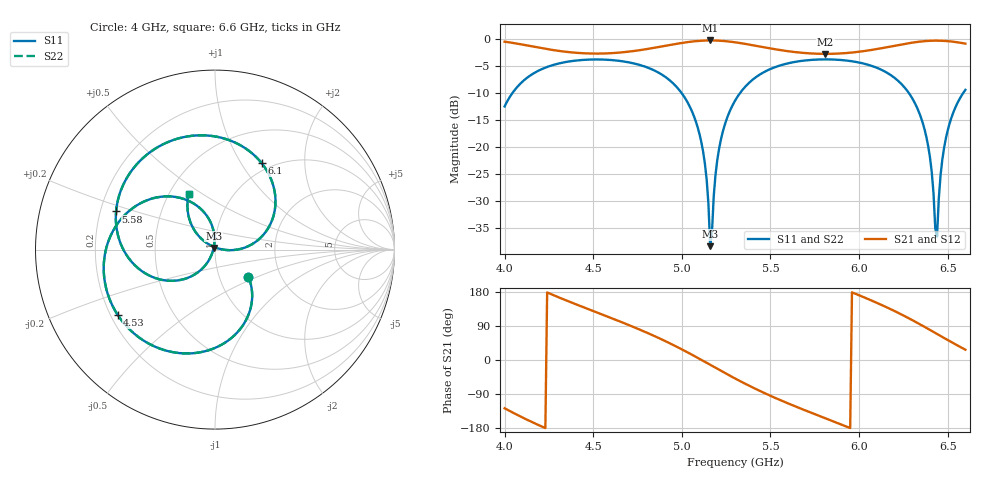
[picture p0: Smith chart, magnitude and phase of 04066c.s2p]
!freq-unit  param-type  data-format  keyword  impedance-ohms
# GHZ  S  RI  R  50
!Freq  ReS11  ImS11  ReS21  ImS21  ReS12  ImS12  ReS22  ImS22
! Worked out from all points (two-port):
!   261 points, 4 GHz to 6.6 GHz, reference 50 ohm
!   highest |S21| = -0.18 dB at 5.16 GHz (marker M1); lowest = -2.7 dB at 5.81 GHz (marker M2)
!   |S21| within 3 dB of the highest: start of sweep to end of sweep
!   lowest |S11| = -38.3 dB at 5.16 GHz (marker M3), VSWR 1.02, Z = 49.3 + j0.949 ohm
!   |S11| at or under -10 dB: start of sweep to 4.043 GHz; 5 GHz to 5.327 GHz (326.5 MHz wide, 6.32 % of centre); 6.282 GHz to 6.586 GHz (303.7 MHz wide, 4.72 % of centre)
!   |S22| runs from -38.3 to -3.7 dB; largest |S21 - S12| = 0
!   S11 on the Smith chart (normalised r, x): 4 GHz: 1.37, -0.44; 4.53 GHz: 0.23, -0.29; 5.58 GHz: 0.27, +0.17; 6.1 GHz: 0.90, +1.24; 6.6 GHz: 0.63, +0.44
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4  0.1857 -0.1515  -0.5798 -0.7577  -0.5798 -0.7577  0.1857 -0.1515
4.18  0.0885 -0.4949  -0.833 -0.1579  -0.833 -0.1579  0.0885 -0.4949
4.44  -0.4154 -0.495  -0.5726 0.4786  -0.5726 0.4786  -0.4154 -0.495
4.53  -0.5426 -0.3629  -0.4114 0.6155  -0.4114 0.6155  -0.5426 -0.3629
4.7  -0.6136 -0.0282  -0.0318 0.7707  -0.0318 0.7707  -0.6136 -0.0282
4.87  -0.4198 0.2557  0.4521 0.7225  0.4521 0.7225  -0.4198 0.2557
5.09  -0.0236 0.1503  0.9638 0.0936  0.9638 0.0936  -0.0236 0.1503
5.14  -0.00277 0.0504  0.9702 -0.1266  0.9702 -0.1266  -0.00277 0.0504
5.16  -0.0074 0.00963  0.9558 -0.2148  0.9558 -0.2148  -0.0074 0.00963
5.21  -0.0502 -0.0828  0.8782 -0.4233  0.8782 -0.4233  -0.0502 -0.0828
5.3  -0.2087 -0.1718  0.622 -0.7079  0.622 -0.7079  -0.2087 -0.1718
5.58  -0.5511 0.2129  -0.2781 -0.7359  -0.2781 -0.7359  -0.5511 0.2129
5.74  -0.407 0.5049  -0.5757 -0.4661  -0.5757 -0.4661  -0.407 0.5049
5.81  -0.2887 0.587  -0.6603 -0.3247  -0.6603 -0.3247  -0.2887 0.587
6.1  0.2604 0.4811  -0.7127 0.3959  -0.7127 0.3959  0.2604 0.4811
6.17  0.3267 0.3491  -0.6156 0.5948  -0.6156 0.5948  0.3267 0.3491
6.36  0.1666 0.0112  0.000125 0.962  0.000125 0.962  0.1666 0.0112
6.4  0.0811 -0.00328  0.1782 0.9561  0.1782 0.9561  0.0811 -0.00328
6.44  -0.00423 0.0143  0.3533 0.9093  0.3533 0.9093  -0.00423 0.0143
6.46  -0.0431 0.0348  0.4358 0.8711  0.4358 0.8711  -0.0431 0.0348
6.49  -0.0929 0.0783  0.5493 0.7972  0.5493 0.7972  -0.0929 0.0783
6.6  -0.1464 0.3082  0.8146 0.4183  0.8146 0.4183  -0.1464 0.3082
